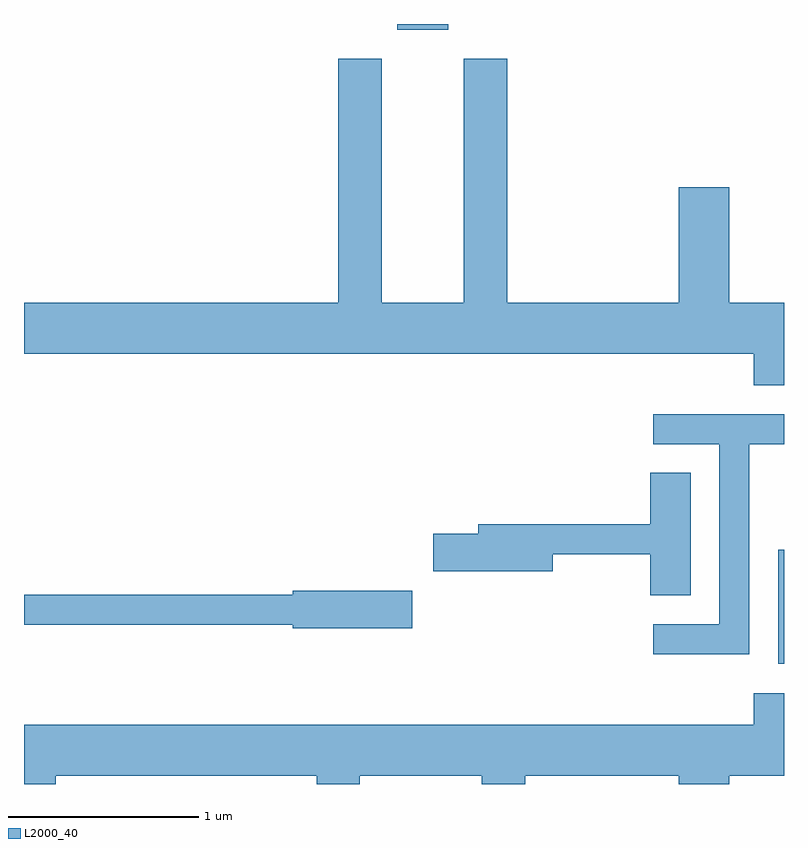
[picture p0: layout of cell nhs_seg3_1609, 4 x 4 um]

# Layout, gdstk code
import gdstk
lib = gdstk.Library(unit=1e-6, precision=1e-09)
def R(c, l, rs):  # rectangles x0, y0, x1, y1
    for r in rs: c.add(gdstk.rectangle(r[:2], r[2:], *l))
def P(c, l, *ps):  # polygons
    for p in ps: c.add(gdstk.Polygon(p, *l))
L2000_40 = (2000, 40)

nhs_seg3_1609 = lib.new_cell('nhs_seg3_1609')
R(nhs_seg3_1609, L2000_40, [(235.581,1206.526,235.611,1207.124), (233.576,1209.861,233.844,1209.892)])
P(nhs_seg3_1609, L2000_40, [(235.611,1208.424),(235.324,1208.424),(235.324,1209.034),(235.056,1209.034),(235.056,1208.424),(234.154,1208.424),(234.154,1209.709),(233.926,1209.709),(233.926,1208.424),(233.494,1208.424),(233.494,1209.709),(233.266,1209.709),(233.266,1208.424),(231.611,1208.424),(231.611,1208.156),(235.451,1208.156),(235.451,1207.991),(235.611,1207.991)],
  [(235.429,1207.681),(235.611,1207.681),(235.611,1207.839),(234.923,1207.839),(234.923,1207.681),(235.271,1207.681),(235.271,1206.734),(234.923,1206.734),(234.923,1206.576),(235.429,1206.576)],
  [(235.119,1207.529),(234.906,1207.529),(234.906,1207.259),(234.001,1207.259),(234.001,1207.209),(233.766,1207.209),(233.766,1207.011),(234.394,1207.011),(234.394,1207.101),(234.906,1207.101),(234.906,1206.886),(235.119,1206.886)],
  [(233.654,1206.909),(233.026,1206.909),(233.026,1206.889),(231.611,1206.889),(231.611,1206.731),(233.026,1206.731),(233.026,1206.711),(233.654,1206.711)],
  [(231.779,1205.936),(233.151,1205.936),(233.151,1205.892),(233.379,1205.892),(233.379,1205.936),(234.021,1205.936),(234.021,1205.892),(234.249,1205.892),(234.249,1205.936),(235.056,1205.936),(235.056,1205.892),(235.324,1205.892),(235.324,1205.936),(235.611,1205.936),(235.611,1206.369),(235.451,1206.369),(235.451,1206.204),(231.611,1206.204),(231.611,1205.892),(231.779,1205.892)])

lib.write_gds('nhs_seg3_1609.gds')
